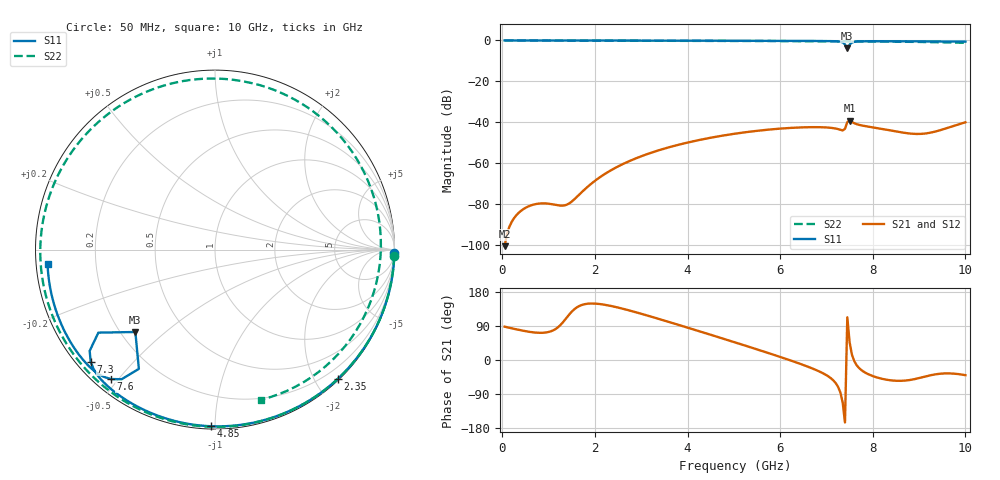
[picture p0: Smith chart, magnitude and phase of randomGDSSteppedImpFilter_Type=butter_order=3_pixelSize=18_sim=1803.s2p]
! freq	dB(S11)	phase(S11)	dB(S12)	phase(S12)
!  dB(S21)	phase(S21)	dB(S22)	phase(S22)
!S-par simulation data
#  GHz  S  DB  R 50
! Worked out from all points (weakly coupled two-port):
!   200 points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, 50 MHz to 10 GHz, reference 50 ohm
!   highest |S21| = -39.22 dB at 7.5 GHz (marker M1); lowest = -100.8 dB at 50 MHz (marker M2)
!   lowest |S11| = -3.9 dB at 7.45 GHz (marker M3), VSWR 4.53, Z = 12.9 - j20 ohm
!   |S11| at or under -10 dB: nowhere
!   |S22| runs from -1.2 to 0.0 dB; largest |S21 - S12| = 0
!   S11 on the Smith chart (normalised r, x): 50 MHz: open; 2.35 GHz: 0.02, -2.34; 4.85 GHz: 0.02, -0.98; 7.3 GHz: 0.04, -0.38; 7.6 GHz: 0.05, -0.48; 10 GHz: 0.03, -0.04
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0.05  -0.00 -1.0  -100.78 87.9  -100.78 87.9  -0.01 -2.2
0.65  -0.01 -13.1  -80.57 73.2  -80.57 73.2  -0.03 -27.3
1.4  -0.03 -28.0  -80.38 113.2  -80.38 113.2  -0.07 -57.6
1.75  -0.04 -34.8  -73.59 146.4  -73.59 146.4  -0.09 -71.2
2.35  -0.06 -46.3  -63.55 142.5  -63.55 142.5  -0.11 -93.6
3.4  -0.09 -65.8  -53.66 107.7  -53.66 107.7  -0.16 -130.3
4.15  -0.11 -79.2  -49.26 79.8  -49.26 79.8  -0.19 -155.5
4.85  -0.14 -91.4  -46.29 53.2  -46.29 53.2  -0.23 -179.1
5.05  -0.15 -94.8  -45.60 45.6  -45.60 45.6  -0.25 174.1
5.85  -0.19 -108.3  -43.48 14.2  -43.48 14.2  -0.30 145.4
6.7  -0.25 -122.9  -42.47 -22.5  -42.47 -22.5  -0.37 111.5
7.3  -0.60 -137.9  -43.78 -85.5  -43.78 -85.5  -0.43 84.5
7.4  -1.96 -144.5  -43.29 -164.8  -43.29 -164.8  -0.44 79.8
7.45  -3.90 -134.0  -40.01 112.6  -40.01 112.6  -0.45 77.4
7.5  -2.07 -122.6  -39.22 46.6  -39.22 46.6  -0.45 74.9
7.6  -0.66 -128.9  -40.55 -2.9  -40.55 -2.9  -0.46 70.0
7.95  -0.38 -139.1  -42.41 -40.0  -42.41 -40.0  -0.50 51.9
8.35  -0.39 -146.5  -43.95 -53.0  -43.95 -53.0  -0.57 29.9
8.75  -0.42 -153.4  -45.46 -53.6  -45.46 -53.6  -0.66 6.6
9.15  -0.47 -160.3  -45.55 -43.1  -45.55 -43.1  -0.78 -17.8
9.6  -0.52 -168.1  -42.95 -35.3  -42.95 -35.3  -0.96 -46.5
10  -0.57 -175.2  -40.09 -40.0  -40.09 -40.0  -1.16 -72.9
